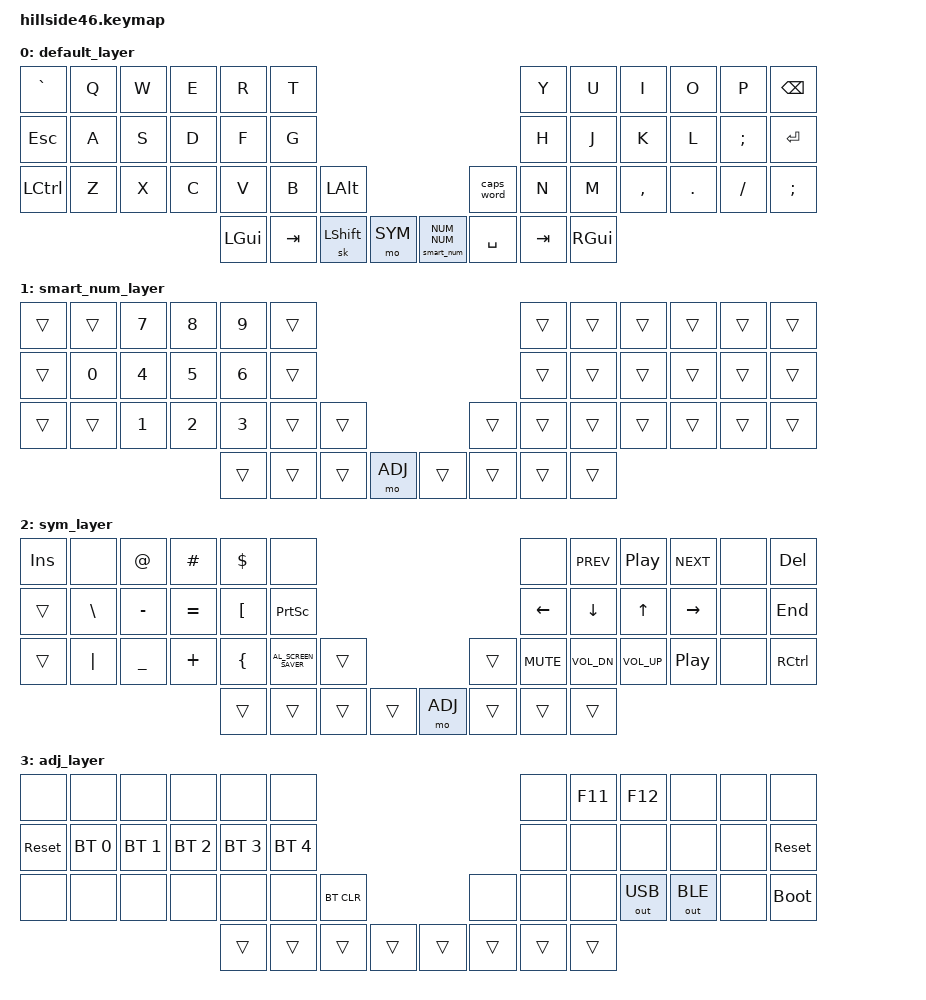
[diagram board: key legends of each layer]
/*
 * Copyright (c) 2021-2022 The ZMK Contributors
 *
 * SPDX-License-Identifier: MIT
 */

#include <behaviors.dtsi>
#include <behaviors/num_word.dtsi>
#include <dt-bindings/zmk/bt.h>
#include <dt-bindings/zmk/ext_power.h>
#include <dt-bindings/zmk/keys.h>
#include <dt-bindings/zmk/outputs.h>

#include "combos.dtsi"
#include "helpers.h"

#define DEF 0
#define NUM 1
#define SYM 2
#define ADJ 3

#define XXX &none
#define ___ &trans

ZMK_HOLD_TAP(smart_num, bindings = <&mo>, <&num_word>; flavor = "hold-preferred"; tapping-term-ms = <200>; compatible = "zmk,behavior-hold-tap"; #binding-cells = <2>;)
#define SMART_NUM &smart_num NUM NUM

&num_word {
  continue-list = <BSPC DEL DOT COMMA PLUS MINUS STAR FSLH EQUAL LGUI RGUI>;
};

&sk {
    quick-release;
};

/ {
        keymap {
                compatible = "zmk,keymap";

                default_layer {
                        bindings = <
//╭──────────────┬──────────────┬──────────────┬──────────────┬──────────────┬──────────────╮                                                                ╭──────────────┬──────────────┬──────────────┬──────────────┬──────────────┬──────────────╮
    &kp  GRAVE     &kp  Q         &kp  W         &kp  E         &kp  R         &kp  T                                                                          &kp  Y         &kp  U         &kp  I         &kp  O         &kp  P         &kp  BSPC
//├──────────────┼──────────────┼──────────────┼──────────────┼──────────────┼──────────────┤                                                                ├──────────────┼──────────────┼──────────────┼──────────────┼──────────────┼──────────────┤
    &kp  ESC       &kp  A         &kp  S         &kp  D         &kp  F         &kp  G                                                                          &kp  H         &kp  J         &kp  K         &kp  L         &kp  SEMI      &kp  ENTER
//├──────────────┼──────────────┼──────────────┼──────────────┼──────────────┼──────────────┼──────────────╮                                  ╭──────────────┼──────────────┼──────────────┼──────────────┼──────────────┼──────────────┼──────────────┤
    &kp  LCTRL     &kp  Z         &kp  X         &kp  C         &kp  V         &kp  B         &kp  LALT                                         &caps_word     &kp  N         &kp  M         &kp  COMMA     &kp  DOT       &kp  SLASH     &kp  SEMI
//╰──────────────┴──────────────┴──────────────┴──────────────┼──────────────┼──────────────┼──────────────┼──────────────╮    ╭──────────────┼──────────────┼──────────────┼──────────────┼──────────────┴──────────────┴──────────────┴──────────────╯
                                                                &kp  LGUI      &kp  TAB       &sk  LSHIFT    &mo  SYM            SMART_NUM      &kp  SPACE     &kp  TAB       &kp  RGUI
//                                                            ╰──────────────┴──────────────┴──────────────┴──────────────╯    ╰──────────────┴──────────────┴──────────────┴──────────────╯
                        >;
                };

                smart_num_layer {
                        bindings = <
//╭──────────────┬──────────────┬──────────────┬──────────────┬──────────────┬──────────────╮                                                                ╭──────────────┬──────────────┬──────────────┬──────────────┬──────────────┬──────────────╮
    ___            ___            &kp   N7       &kp   N8       &kp   N9       ___                                                                             ___            ___            ___            ___            ___            ___
//├──────────────┼──────────────┼──────────────┼──────────────┼──────────────┼──────────────┤                                                                ├──────────────┼──────────────┼──────────────┼──────────────┼──────────────┼──────────────┤
    ___            &kp   N0       &kp   N4       &kp   N5       &kp   N6       ___                                                                             ___            ___            ___            ___            ___            ___
//├──────────────┼──────────────┼──────────────┼──────────────┼──────────────┼──────────────┼──────────────╮                                  ╭──────────────┼──────────────┼──────────────┼──────────────┼──────────────┼──────────────┼──────────────┤
    ___            ___            &kp   N1       &kp   N2       &kp   N3       ___            ___                                               ___            ___            ___            ___            ___            ___            ___
//╰──────────────┴──────────────┴──────────────┴──────────────┼──────────────┼──────────────┼──────────────┼──────────────╮    ╭──────────────┼──────────────┼──────────────┼──────────────┼──────────────┴──────────────┴──────────────┴──────────────╯
                                                                ___            ___            ___            &mo ADJ             ___            ___            ___            ___
//                                                            ╰──────────────┴──────────────┴──────────────┴──────────────╯    ╰──────────────┴──────────────┴──────────────┴──────────────╯
                        >;
                };

                sym_layer {
                        bindings = <
//╭──────────────┬──────────────┬──────────────┬──────────────┬──────────────┬──────────────╮                                                                ╭──────────────┬──────────────┬──────────────┬──────────────┬──────────────┬──────────────╮
    &kp  INS       XXX            &kp  AT        &kp  HASH      &kp  DOLLAR    XXX                                                                             &none          &kp C_PREV     &kp  C_PP      &kp  C_NEXT    XXX            &kp  DEL
//├──────────────┼──────────────┼──────────────┼──────────────┼──────────────┼──────────────┤                                                                ├──────────────┼──────────────┼──────────────┼──────────────┼──────────────┼──────────────┤
    ___            &kp  BSLH      &kp  MINUS     &kp  EQUAL     &kp  LBKT      &kp PSCRN                                                                       &kp LEFT       &kp DOWN       &kp  UP        &kp  RIGHT     XXX            &kp  END
//├──────────────┼──────────────┼──────────────┼──────────────┼──────────────┼──────────────┼──────────────╮                                  ╭──────────────┼──────────────┼──────────────┼──────────────┼──────────────┼──────────────┼──────────────┤
    ___            &kp  PIPE      &kp  UNDER     &kp  PLUS      &kp  LBRC      &kp C_AL_SCREEN_SAVER  ___                                       ___            &kp C_MUTE     &kp C_VOL_DN   &kp C_VOL_UP   &kp  C_PP      XXX            &kp  RCTRL
//╰──────────────┴──────────────┴──────────────┴──────────────┼──────────────┼──────────────┼──────────────┼──────────────╮    ╭──────────────┼──────────────┼──────────────┼──────────────┼──────────────┴──────────────┴──────────────┴──────────────╯
                                                                ___            ___            ___            ___                 &mo  ADJ       ___            ___            ___
//                                                            ╰──────────────┴──────────────┴──────────────┴──────────────╯    ╰──────────────┴──────────────┴──────────────┴──────────────╯
                        >;
                };

                adj_layer {
                        bindings = <
//╭──────────────┬──────────────┬──────────────┬──────────────┬──────────────┬──────────────╮                                                                ╭──────────────┬──────────────┬──────────────┬──────────────┬──────────────┬──────────────╮
    XXX            XXX            XXX            XXX            XXX            XXX                                                                             XXX            &kp  F11       &kp  F12       XXX            XXX            XXX
//├──────────────┼──────────────┼──────────────┼──────────────┼──────────────┼──────────────┤                                                                ├──────────────┼──────────────┼──────────────┼──────────────┼──────────────┼──────────────┤
    &sys_reset     &bt BT_SEL 0   &bt BT_SEL 1   &bt BT_SEL 2   &bt BT_SEL 3   &bt BT_SEL 4                                                                    XXX            XXX            XXX            XXX            XXX            &sys_reset
//├──────────────┼──────────────┼──────────────┼──────────────┼──────────────┼──────────────┼──────────────╮                                  ╭──────────────┼──────────────┼──────────────┼──────────────┼──────────────┼──────────────┼──────────────┤
    XXX            XXX            XXX            XXX            XXX            XXX            &bt  BT_CLR                                       XXX            XXX            XXX            &out OUT_USB   &out OUT_BLE   XXX            &bootloader
//╰──────────────┴──────────────┴──────────────┴──────────────┼──────────────┼──────────────┼──────────────┼──────────────╮    ╭──────────────┼──────────────┼──────────────┼──────────────┼──────────────┴──────────────┴──────────────┴──────────────╯
                                                                ___            ___            ___            ___                 ___            ___            ___            ___
//                                                            ╰──────────────┴──────────────┴──────────────┴──────────────╯    ╰──────────────┴──────────────┴──────────────┴──────────────╯
                        >;
                };
        };
};
